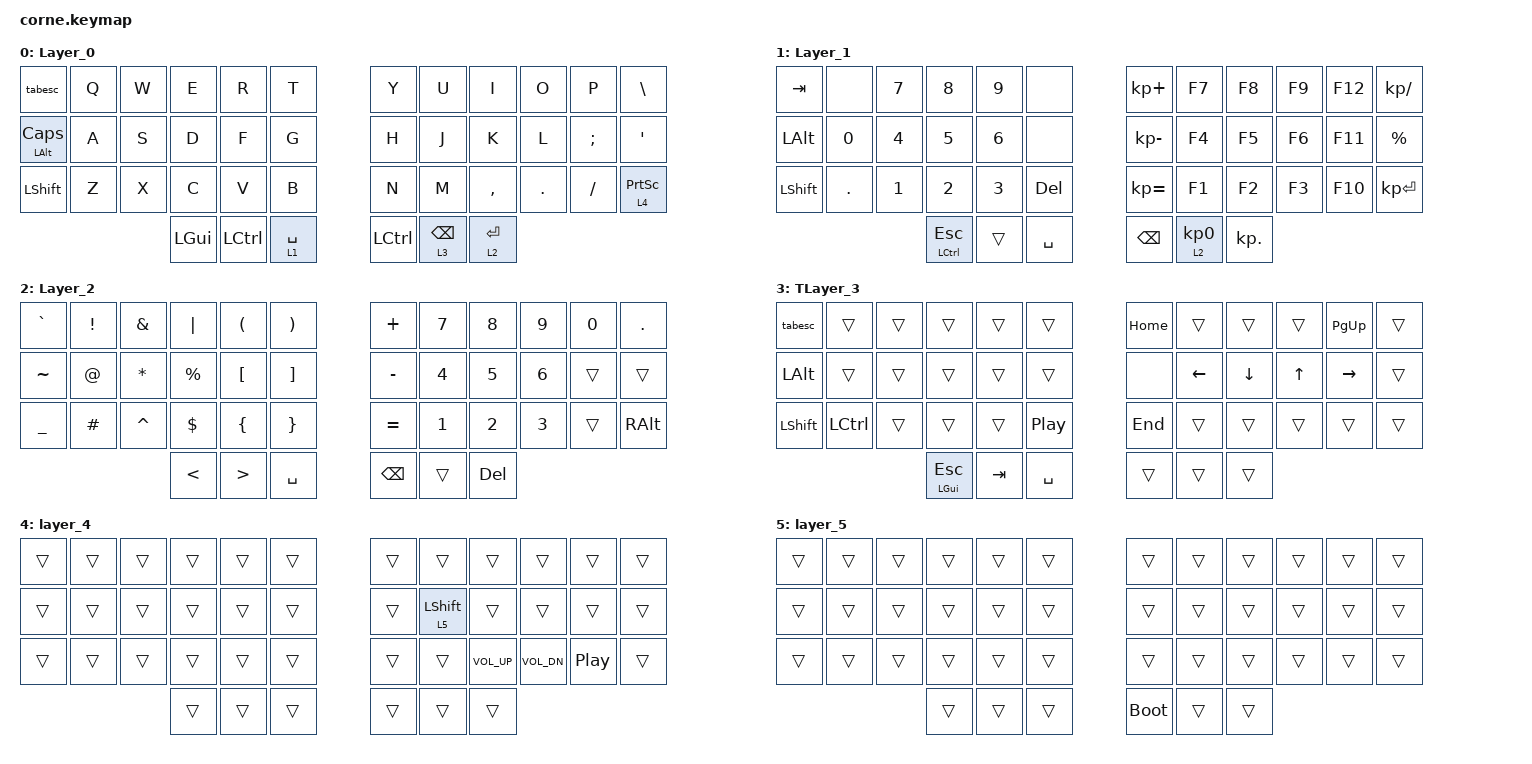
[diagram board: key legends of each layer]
/*
 * Copyright (c) 2020 The ZMK Contributors
 *
 * SPDX-License-Identifier: MIT
 */

#include <behaviors.dtsi>
#include <dt-bindings/zmk/keys.h>

/ {
    conditional_layers { compatible = "zmk,conditional-layers"; };
};

/ {
    combos { compatible = "zmk,combos"; };

    behaviors {
        tabesc: tab_escape_grave {
            compatible = "zmk,behavior-mod-morph";
            label = "TAB_ESCAPE_GRAVE";
            #binding-cells = <0>;
            bindings = <&gresc>, <&kp TAB>;

            mods = <(MOD_LALT|MOD_RALT|MOD_LSFT)>;
            keep-mods = <(MOD_LALT|MOD_RALT)>;
        };

        shiftlayer: shift_layer {
            compatible = "zmk,behavior-mod-morph";
            label = "SHIFT_LAYER";
            #binding-cells = <0>;
            bindings = <&mo 1>, <&kp LEFT_SHIFT>;

            mods = <(MOD_LCTL|MOD_RCTL)>;
        };

        l2l4: layer2_layer4 {
            compatible = "zmk,behavior-tap-dance";
            label = "LAYER2_LAYER4";
            #binding-cells = <0>;
            tapping-term-ms = <200>;
            bindings = <&mo 2>, <&mo 4>;
        };

        l6l4: layer6_layer4 {
            compatible = "zmk,behavior-tap-dance";
            label = "LAYER6_LAYER4";
            #binding-cells = <0>;
            tapping-term-ms = <200>;
            bindings = <&mo 0>, <&mo 4>;
        };

        lmt: long_mod_tap {
            compatible = "zmk,behavior-hold-tap";
            label = "LONG_MOD_TAP";
            #binding-cells = <2>;
            flavor = "hold-preferred";
            tapping-term-ms = <400>;
            quick-tap-ms = <300>;
            bindings = <&kp>, <&kp>;
        };

        lmo: long_mod_layer {
            compatible = "zmk,behavior-hold-tap";
            label = "long_mod_layer";
            #binding-cells = <2>;
            flavor = "hold-preferred";
            tapping-term-ms = <400>;
            quick-tap-ms = <200>;
            bindings = <&mo>, <&kp>;
        };

        new_behavior: new_behavior {
            compatible = "zmk,behavior-tap-dance";
            label = "NEW_BEHAVIOR";
            #binding-cells = <0>;
            tapping-term-ms = <200>;
            bindings = <&mo 0>, <&mo 4>;
        };
    };

    keymap {
        compatible = "zmk,keymap";

        Layer_0 {
            bindings = <
&tabesc         &kp Q  &kp W  &kp E     &kp R             &kp T          &kp Y             &kp U            &kp I        &kp O    &kp P          &kp BACKSLASH
&mt LALT CAPS   &kp A  &kp S  &kp D     &kp F             &kp G          &kp H             &kp J            &kp K        &kp L    &kp SEMICOLON  &kp SINGLE_QUOTE
&kp LEFT_SHIFT  &kp Z  &kp X  &kp C     &kp V             &kp B          &kp N             &kp M            &kp COMMA    &kp DOT  &kp SLASH      &lt 4 PRINTSCREEN
                              &kp LGUI  &kp LEFT_CONTROL  &lt 1 SPACE    &kp LEFT_CONTROL  &lt 3 BACKSPACE  &lt 2 ENTER
            >;
        };

        Layer_1 {
            bindings = <
&kp TAB         &none       &kp N7  &kp N8         &kp N9  &none         &kp KP_PLUS    &kp F7       &kp F8      &kp F9  &kp F12  &kp KP_SLASH
&kp LALT        &kp N0      &kp N4  &kp N5         &kp N6  &none         &kp KP_MINUS   &kp F4       &kp F5      &kp F6  &kp F11  &kp PERCENT
&kp LEFT_SHIFT  &kp PERIOD  &kp N1  &kp N2         &kp N3  &kp DELETE    &kp KP_EQUAL   &kp F1       &kp F2      &kp F3  &kp F10  &kp KP_ENTER
                                    &mt LCTRL ESC  &trans  &kp SPACE     &kp BACKSPACE  &lt 2 KP_N0  &kp KP_DOT
            >;
        };

        Layer_2 {
            bindings = <
&kp GRAVE       &kp EXCLAMATION  &kp AMPERSAND  &kp PIPE       &kp LEFT_PARENTHESIS  &kp RIGHT_PARENTHESIS    &kp PLUS       &kp N7        &kp N8        &kp N9        &kp N0  &kp DOT
&kp TILDE       &kp AT           &kp ASTERISK   &kp PERCENT    &kp LEFT_BRACKET      &kp RIGHT_BRACKET        &kp MINUS      &kp NUMBER_4  &kp N5        &kp NUMBER_6  &trans  &trans
&kp UNDERSCORE  &kp HASH         &kp CARET      &kp DOLLAR     &kp LEFT_BRACE        &kp RIGHT_BRACE          &kp EQUAL      &kp N1        &kp NUMBER_2  &kp NUMBER_3  &trans  &kp RIGHT_ALT
                                                &kp LESS_THAN  &kp GREATER_THAN      &kp SPACE                &kp BACKSPACE  &trans        &kp DELETE
            >;
        };

        TLayer_3 {
            bindings = <
&tabesc         &trans     &trans  &trans        &trans   &trans       &kp HOME  &trans    &trans    &trans  &kp PG_UP  &trans
&kp LALT        &trans     &trans  &trans        &trans   &trans       &none     &kp LEFT  &kp DOWN  &kp UP  &kp RIGHT  &trans
&kp LEFT_SHIFT  &kp LCTRL  &trans  &trans        &trans   &kp C_PP     &kp END   &trans    &trans    &trans  &trans     &trans
                                   &mt LGUI ESC  &kp TAB  &kp SPACE    &trans    &trans    &trans
            >;
        };

        layer_4 {
            bindings = <
&trans  &trans  &trans  &trans  &trans  &trans    &trans  &trans            &trans           &trans        &trans    &trans
&trans  &trans  &trans  &trans  &trans  &trans    &trans  &lt 5 LEFT_SHIFT  &trans           &trans        &trans    &trans
&trans  &trans  &trans  &trans  &trans  &trans    &trans  &trans            &kp C_VOLUME_UP  &kp C_VOL_DN  &kp C_PP  &trans
                        &trans  &trans  &trans    &trans  &trans            &trans
            >;
        };

        layer_5 {
            bindings = <
&trans  &trans  &trans  &trans  &trans  &trans    &trans       &trans  &trans  &trans  &trans  &trans
&trans  &trans  &trans  &trans  &trans  &trans    &trans       &trans  &trans  &trans  &trans  &trans
&trans  &trans  &trans  &trans  &trans  &trans    &trans       &trans  &trans  &trans  &trans  &trans
                        &trans  &trans  &trans    &bootloader  &trans  &trans
            >;
        };
    };
};
